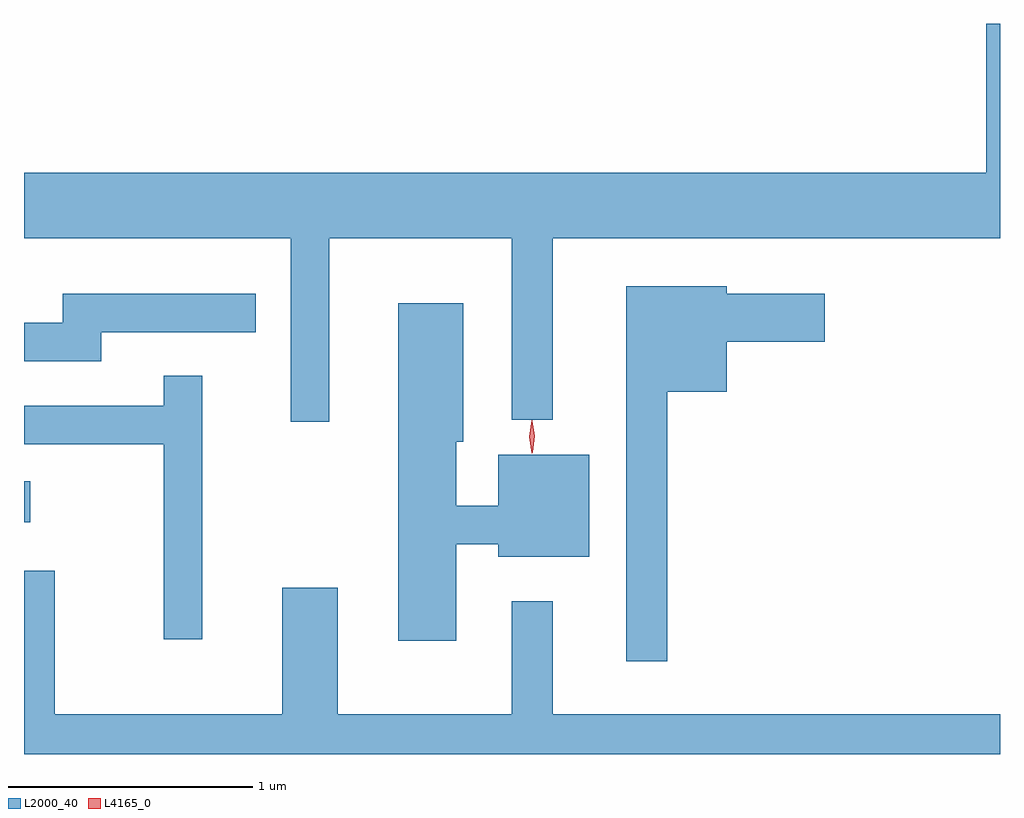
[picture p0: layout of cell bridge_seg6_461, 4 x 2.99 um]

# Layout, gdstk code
import gdstk
lib = gdstk.Library(unit=1e-6, precision=1e-09)
def R(c, l, rs):  # rectangles x0, y0, x1, y1
    for r in rs: c.add(gdstk.rectangle(r[:2], r[2:], *l))
def P(c, l, *ps):  # polygons
    for p in ps: c.add(gdstk.Polygon(p, *l))
L2000_40 = (2000, 40)
L4165_0 = (4165, 0)

bridge_seg6_461 = lib.new_cell('bridge_seg6_461')
R(bridge_seg6_461, L2000_40, [(670.673,1531.111,670.698,1531.279)])
P(bridge_seg6_461, L2000_40, [(671.924,1532.276),(672.671,1532.276),(672.671,1531.533),(672.839,1531.533),(672.839,1532.276),(674.673,1532.276),(674.673,1533.154),(674.616,1533.154),(674.616,1532.544),(670.673,1532.544),(670.673,1532.276),(671.766,1532.276),(671.766,1531.523),(671.924,1531.523)],
  [(673.309,1531.646),(673.554,1531.646),(673.554,1531.851),(673.954,1531.851),(673.954,1532.049),(673.554,1532.049),(673.554,1532.079),(673.141,1532.079),(673.141,1530.543),(673.309,1530.543)],
  [(670.989,1531.891),(671.623,1531.891),(671.623,1532.049),(670.831,1532.049),(670.831,1531.929),(670.673,1531.929),(670.673,1531.771),(670.989,1531.771)],
  [(672.444,1531.021),(672.616,1531.021),(672.616,1530.971),(672.989,1530.971),(672.989,1531.389),(672.616,1531.389),(672.616,1531.179),(672.444,1531.179),(672.444,1531.441),(672.474,1531.441),(672.474,1532.009),(672.206,1532.009),(672.206,1530.626),(672.444,1530.626)],
  [(671.404,1531.713),(671.246,1531.713),(671.246,1531.589),(670.673,1531.589),(670.673,1531.431),(671.246,1531.431),(671.246,1530.633),(671.404,1530.633)],
  [(674.673,1530.324),(672.839,1530.324),(672.839,1530.788),(672.671,1530.788),(672.671,1530.324),(671.959,1530.324),(671.959,1530.844),(671.731,1530.844),(671.731,1530.324),(670.799,1530.324),(670.799,1530.914),(670.673,1530.914),(670.673,1530.162),(674.673,1530.162)])
P(bridge_seg6_461, L4165_0, [(672.754,1531.394),(672.754,1531.394),(672.744,1531.462),(672.754,1531.53),(672.754,1531.53),(672.755,1531.53),(672.764,1531.462),(672.755,1531.394)],
  [(672.758,1531.399),(672.747,1531.463),(672.755,1531.527),(672.755,1531.527),(672.756,1531.527),(672.767,1531.464),(672.759,1531.399),(672.759,1531.399)])

lib.write_gds('bridge_seg6_461.gds')
